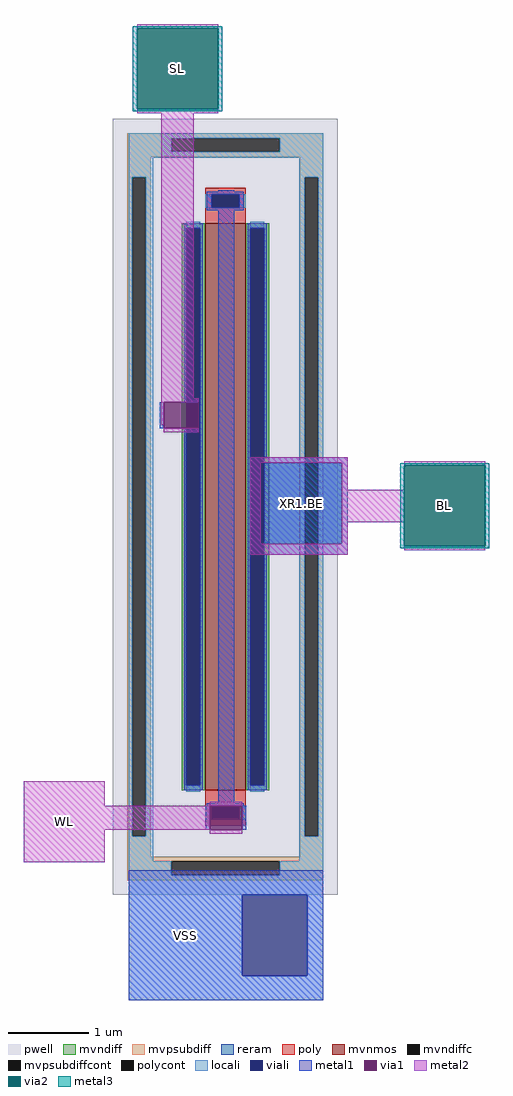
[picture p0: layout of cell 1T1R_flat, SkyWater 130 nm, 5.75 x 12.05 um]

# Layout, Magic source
magic
tech sky130B
magscale 1 2
<< pwell >>
rect -140 680 416 2596
<< mvnmos >>
rect 88 938 188 2338
<< mvndiff >>
rect 30 2326 88 2338
rect 30 950 42 2326
rect 76 950 88 2326
rect 30 938 88 950
rect 188 2326 246 2338
rect 188 950 200 2326
rect 234 950 246 2326
rect 188 938 246 950
<< mvndiffc >>
rect 42 950 76 2326
rect 200 950 234 2326
<< mvpsubdiff >>
rect -104 2548 380 2560
rect -104 2514 4 2548
rect 272 2514 380 2548
rect -104 2502 380 2514
rect -104 2452 -46 2502
rect -104 824 -92 2452
rect -58 824 -46 2452
rect 322 2452 380 2502
rect -104 774 -46 824
rect 322 824 334 2452
rect 368 824 380 2452
rect 322 774 380 824
rect -104 762 380 774
rect -104 728 4 762
rect 272 728 380 762
rect -104 716 380 728
<< mvpsubdiffcont >>
rect 4 2514 272 2548
rect -92 824 -58 2452
rect 334 824 368 2452
rect 4 728 272 762
<< poly >>
rect 88 2410 188 2426
rect 88 2376 104 2410
rect 172 2376 188 2410
rect 88 2338 188 2376
rect 88 900 188 938
rect 88 866 104 900
rect 172 866 188 900
rect 88 850 188 866
<< polycont >>
rect 104 2376 172 2410
rect 104 866 172 900
<< locali >>
rect -100 2548 380 2560
rect -100 2514 4 2548
rect 272 2514 380 2548
rect -100 2500 380 2514
rect -100 2452 -40 2500
rect -100 824 -92 2452
rect -58 824 -40 2452
rect 320 2452 380 2500
rect 88 2376 104 2410
rect 172 2376 188 2410
rect 42 2326 76 2342
rect 42 934 76 950
rect 200 2326 234 2342
rect 200 934 234 950
rect 88 866 104 900
rect 172 866 188 900
rect -100 762 -40 824
rect 320 824 334 2452
rect 368 824 380 2452
rect 320 762 380 824
rect -100 728 4 762
rect 272 728 380 762
rect -100 680 380 728
rect -100 480 180 680
rect 340 480 380 680
rect -100 420 380 480
<< viali >>
rect 104 2376 172 2410
rect 42 950 76 2326
rect 200 950 234 2326
rect 104 866 172 900
rect 180 480 340 680
<< metal1 >>
rect 120 2416 160 2420
rect 92 2410 184 2416
rect 92 2376 104 2410
rect 172 2376 184 2410
rect 92 2370 184 2376
rect 36 2326 82 2338
rect 36 1896 42 2326
rect -24 1832 -14 1896
rect 36 950 42 1832
rect 76 950 82 2326
rect 36 938 82 950
rect 120 906 160 2370
rect 194 2326 240 2338
rect 194 950 200 2326
rect 234 1760 240 2326
rect 234 1520 440 1760
rect 234 950 240 1520
rect 194 938 240 950
rect 92 900 184 906
rect 90 840 100 900
rect 180 840 190 900
rect -100 680 380 740
rect -100 480 180 680
rect 340 480 380 680
rect -100 420 380 480
<< via1 >>
rect -14 1832 42 1896
rect 42 1832 72 1896
rect 100 866 104 900
rect 104 866 172 900
rect 172 866 180 900
rect 100 840 180 866
<< reram >>
rect 226 1546 426 1746
<< metal2 >>
rect -80 2820 120 2830
rect -80 2610 120 2620
rect -20 1906 60 2610
rect -20 1896 72 1906
rect -20 1840 -14 1896
rect -14 1822 72 1832
rect 200 1746 440 1760
rect 200 1546 226 1746
rect 426 1680 440 1746
rect 580 1740 780 1750
rect 426 1600 580 1680
rect 426 1546 440 1600
rect 200 1520 440 1546
rect 580 1530 780 1540
rect -360 900 -160 960
rect 100 900 180 910
rect -360 840 100 900
rect -360 760 -160 840
rect 100 830 180 840
<< via2 >>
rect -80 2620 120 2820
rect 580 1540 780 1740
<< metal3 >>
rect -90 2820 130 2825
rect -90 2620 -80 2820
rect 120 2620 130 2820
rect -90 2615 130 2620
rect 570 1740 790 1745
rect 570 1540 580 1740
rect 780 1540 790 1740
rect 570 1535 790 1540
<< labels >>
flabel metal1 -60 480 140 680 0 FreeSans 256 0 0 0 VSS
port 1 nsew
flabel metal2 -360 760 -160 960 0 FreeSans 256 0 0 0 WL
port 2 nsew
flabel metal3 580 1540 780 1740 0 FreeSans 256 0 0 0 BL
port 3 nsew
flabel metal3 -80 2620 120 2820 0 FreeSans 256 0 0 0 SL
port 0 nsew
flabel metal1 226 1546 426 1746 0 FreeSans 256 0 0 0 XR1.BE
flabel reram 226 1546 426 1746 0 FreeSans 256 0 0 0 XR1.TE
<< end >>
